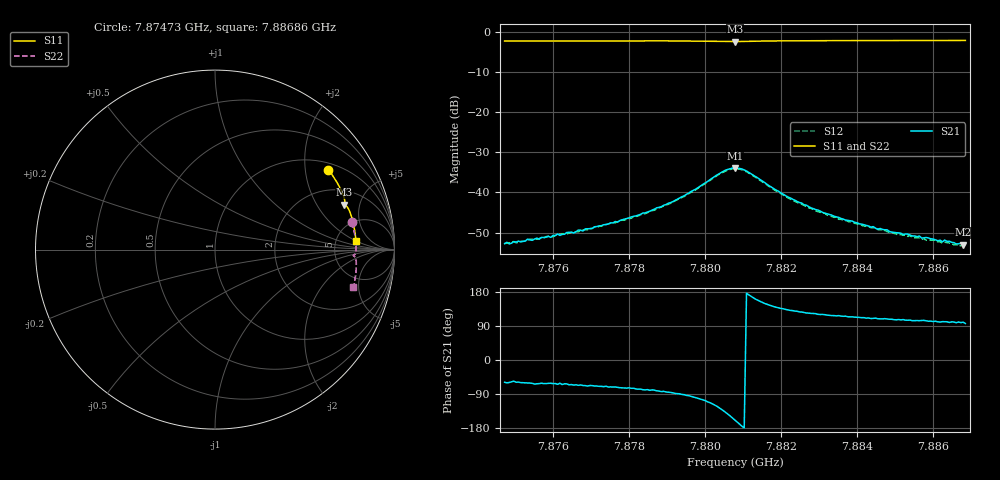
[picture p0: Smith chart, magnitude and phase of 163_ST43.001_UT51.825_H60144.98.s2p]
#  HZ  S  DB  R  50.00
! Rohde & Schwarz Vector Network Analyzer
! Rohde-Schwarz,ZNB20-2Port,1311601062101988,3.16
! Created: UTC 1/12/2023, 6:41:26 PM
! freq[Hz]  db:S11  ang:S11  db:S21  ang:S21  db:S12  ang:S12  db:S22  ang:S22
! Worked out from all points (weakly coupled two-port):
!   201 points, 7.87473 GHz to 7.88686 GHz, reference 50 ohm
!   highest |S21| = -33.90 dB at 7.88079 GHz (marker M1); lowest = -53.0 dB at 7.8868 GHz (marker M2)
!   lowest |S11| = -2.4 dB at 7.88079 GHz (marker M3), VSWR 7.42, Z = 149 + j178 ohm
!   |S11| at or under -10 dB: nowhere
!   |S22| runs from -2.3 to -1.9 dB; largest |S21 - S12| = 0.0013
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7.87473e9  -2.24 35.2  -52.78 -58.8  -52.73 -61.3  -2.19 11.3
7.875943e9  -2.22 31.9  -51.20 -61.3  -50.96 -67.1  -2.15 8.3
7.876125e9  -2.21 31.4  -50.37 -64.1  -50.52 -66.8  -2.15 7.9
7.876185e9  -2.22 31.2  -50.73 -61.2  -50.36 -67.2  -2.15 7.8
7.876367e9  -2.21 30.7  -49.98 -63.0  -50.31 -67.8  -2.14 7.4
7.876549e9  -2.21 30.2  -50.10 -66.1  -49.85 -68.9  -2.14 6.9
7.87667e9  -2.21 29.9  -49.39 -66.9  -49.84 -69.0  -2.13 6.6
7.876792e9  -2.21 29.5  -49.62 -67.3  -49.36 -69.1  -2.12 6.3
7.876852e9  -2.21 29.4  -49.09 -67.6  -49.31 -71.4  -2.13 6.2
7.878065e9  -2.19 26.0  -46.10 -74.7  -46.42 -77.8  -2.10 3.4
7.878793e9  -2.19 24.0  -43.70 -82.0  -43.86 -85.8  -2.09 1.6
7.87946e9  -2.20 22.1  -40.85 -91.5  -41.00 -95.4  -2.10 -0.0
7.880552e9  -2.33 19.3  -34.41 -138.6  -34.63 -141.7  -2.23 -2.4
7.880795e9  -2.36 19.1  -33.90 -158.8  -34.07 -162.1  -2.26 -2.5
7.881098e9  -2.32 18.9  -34.65 176.1  -34.87 172.7  -2.23 -2.5
7.882129e9  -2.17 16.3  -40.82 133.4  -41.04 130.2  -2.05 -4.7
7.882857e9  -2.14 14.2  -44.07 122.8  -44.20 119.1  -2.02 -6.4
7.883524e9  -2.12 12.4  -46.21 117.1  -46.69 112.7  -2.00 -8.0
7.884859e9  -2.11 8.8  -49.72 107.6  -49.97 103.9  -1.97 -10.9
7.886678e9  -2.09 4.1  -52.81 100.2  -53.40 95.3  -1.94 -15.0
7.8868e9  -2.08 3.8  -53.00 99.8  -52.99 96.1  -1.95 -15.2
7.88686e9  -2.09 3.6  -52.97 96.4  -53.12 94.7  -1.95 -15.3
